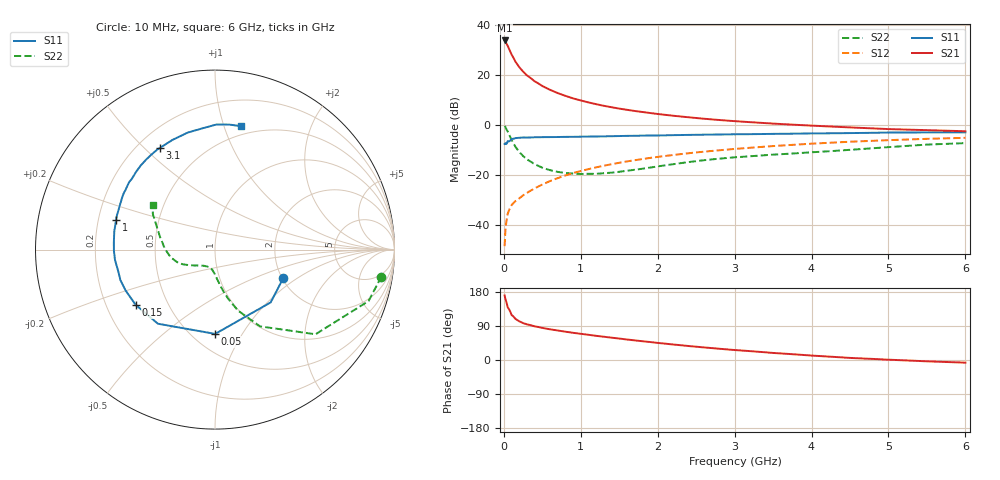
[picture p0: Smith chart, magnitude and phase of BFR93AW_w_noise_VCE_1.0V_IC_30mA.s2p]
! Infineon Technologies  Discrete & RF Semiconductors
! BFR93AW
! VCE =  1.0 V,  IC =  30 mA
! Common Emitter S-Parameters:  Jan 2017
# GHz  S  MA  R  50
!  f  S11  S21  S12  S22
! GHz  MAG  ANG  MAG  ANG  MAG  ANG  MAG  ANG
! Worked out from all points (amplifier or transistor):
!   77 points, 10 MHz to 6 GHz, reference 50 ohm
!   highest |S21| = 33.7 dB at 10 MHz (marker M1)
!   |S21| within 3 dB of that: start of sweep to 62.77 MHz
!   unconditionally stable (mu >= 1): 417 MHz to 2.649 GHz
!   at 130 MHz: K = 0.59, MSG = 28.9 dB, |S12| = -31.2 dB
!   at 2.2 GHz: K = 1.03, MAG = 6.8 dB, |S12| = -12.1 dB
!   at 6 GHz: K = 0.96, MSG = 1.3 dB, |S12| = -5.2 dB
!   lowest NFmin = 1.79 dB at 450 MHz
!   S11 on the Smith chart (normalised r, x): 10 MHz: 2.03, -0.77; 50 MHz: 0.64, -0.77; 150 MHz: 0.33, -0.28; 1 GHz: 0.27, +0.14; 3.1 GHz: 0.29, +0.56; 6 GHz: 0.42, +1.14
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0.01  0.4122 -22.6  48.59 170.4  0.0037 82.2  0.9393 -9.2
0.02  0.4275 -43.5  47.24 161.3  0.0076 76.4  0.9024 -18.5
0.05  0.4696 -89.9  37.93 139.2  0.0165 61.7  0.7324 -40.1
0.1  0.5212 -127.6  25.43 118.9  0.0245 54.6  0.4958 -59.6
0.15  0.5385 -145.1  18.38 108.6  0.0295 53.9  0.3624 -69.4
0.2  0.5475 -155.3  14.22 102.1  0.0334 57.5  0.2857 -74.8
0.25  0.5538 -162.1  11.58 97.4  0.0385 59.3  0.2363 -78.7
0.3  0.5524 -167.0  9.728 94.1  0.0431 60.8  0.2024 -81.7
0.4  0.5602 -174.1  7.405 88.8  0.0529 63.7  0.1618 -86.3
0.5  0.5633 -179.4  5.953 84.7  0.0634 65.5  0.1378 -90.1
0.6  0.5648 176.2  4.998 81.0  0.0744 66.8  0.123 -94.4
0.7  0.5667 173.0  4.298 77.9  0.0851 67.8  0.1135 -97.7
0.8  0.5706 169.4  3.781 74.7  0.0965 68.1  0.1082 -101.7
1  0.5758 163.4  3.055 69.1  0.1181 67.6  0.103 -109.5
1.1  0.5789 160.6  2.793 66.5  0.1289 67.2  0.104 -113.0
1.3  0.5843 155.5  2.389 61.4  0.1511 66.0  0.1069 -120.2
1.5  0.5927 151.0  2.1 56.6  0.1729 64.5  0.1141 -128.2
2.1  0.6125 137.4  1.575 43.1  0.2369 58.7  0.1539 -145.3
3.1  0.6444 118.4  1.151 24.9  0.3361 47.9  0.2277 -163.6
4.1  0.6706 101.6  0.943 10.5  0.4244 36.5  0.2862 176.1
5.1  0.697 88.2  0.809 -0.0  0.4962 25.1  0.364 155.6
6  0.7026 78.0  0.739 -7.0  0.5465 15.3  0.4282 144.1
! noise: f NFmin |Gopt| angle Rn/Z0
0.45  1.79  0.18  173  0.16
0.9  2.06  0.26  -175  0.16
1.9  3.1  0.5  -135  0.29
2.4  3.75  0.55  -124  0.55
